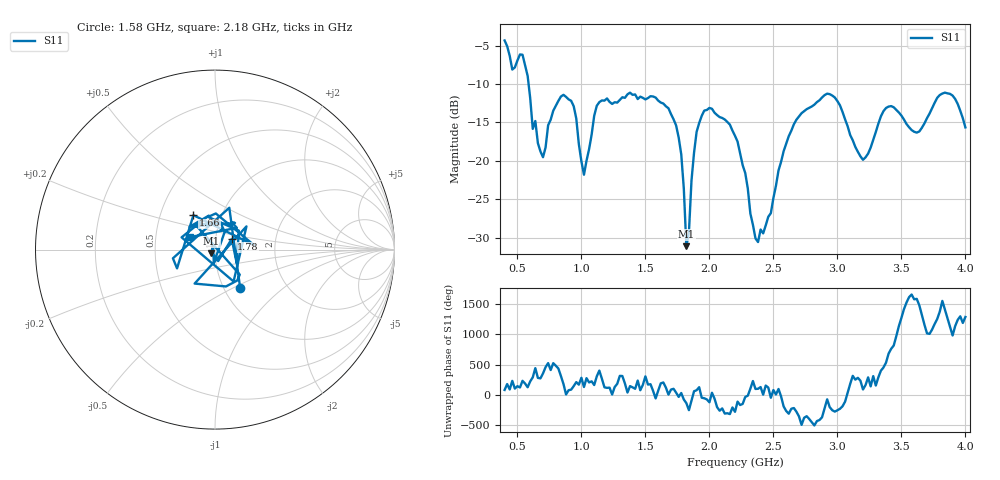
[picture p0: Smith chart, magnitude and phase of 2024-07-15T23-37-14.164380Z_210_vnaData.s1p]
!Created with skrf (http://scikit-rf.org).
# Hz S RI R 50.0
!freq ReS11 ImS11
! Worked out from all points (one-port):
!   181 points, 400 MHz to 4 GHz, reference 50 ohm
!   lowest |S11| = -31.1 dB at 1.82 GHz (marker M1), VSWR 1.06, Z = 48 - j1.9 ohm
!   |S11| at or under -10 dB: 587.2 MHz to end of sweep
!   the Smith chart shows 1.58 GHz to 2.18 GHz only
!   S11 on the Smith chart (normalised r, x): 1.58 GHz: 1.19, -0.55; 1.66 GHz: 0.73, +0.30; 1.78 GHz: 1.20, +0.14; 2.18 GHz: 0.75, +0.11
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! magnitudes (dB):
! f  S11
! 400 MHz  -4.3
! 460 MHz  -8.1
! 540 MHz  -6.2
! 620 MHz  -15.8
! 700 MHz  -19.5
! 860 MHz  -11.4
! 940 MHz  -12.9
! 1.02 GHz  -21.8
! 1.12 GHz  -12.8
! 1.3 GHz  -12.1
! 1.58 GHz  -11.8
! 1.66 GHz  -12.9
! 1.76 GHz  -17.0
! 1.78 GHz  -19.2
! 1.82 GHz  -31.1
! 1.88 GHz  -19.0
! 1.94 GHz  -14.2
! 2.18 GHz  -16.1
! 2.2 GHz  -16.8
! 2.38 GHz  -30.6
! 2.66 GHz  -15.2
! 2.94 GHz  -11.3
! 3.1 GHz  -16.7
! 3.2 GHz  -19.9
! 3.38 GHz  -13.1
! 3.56 GHz  -15.6
! 3.84 GHz  -11.1
! 4 GHz  -15.7
